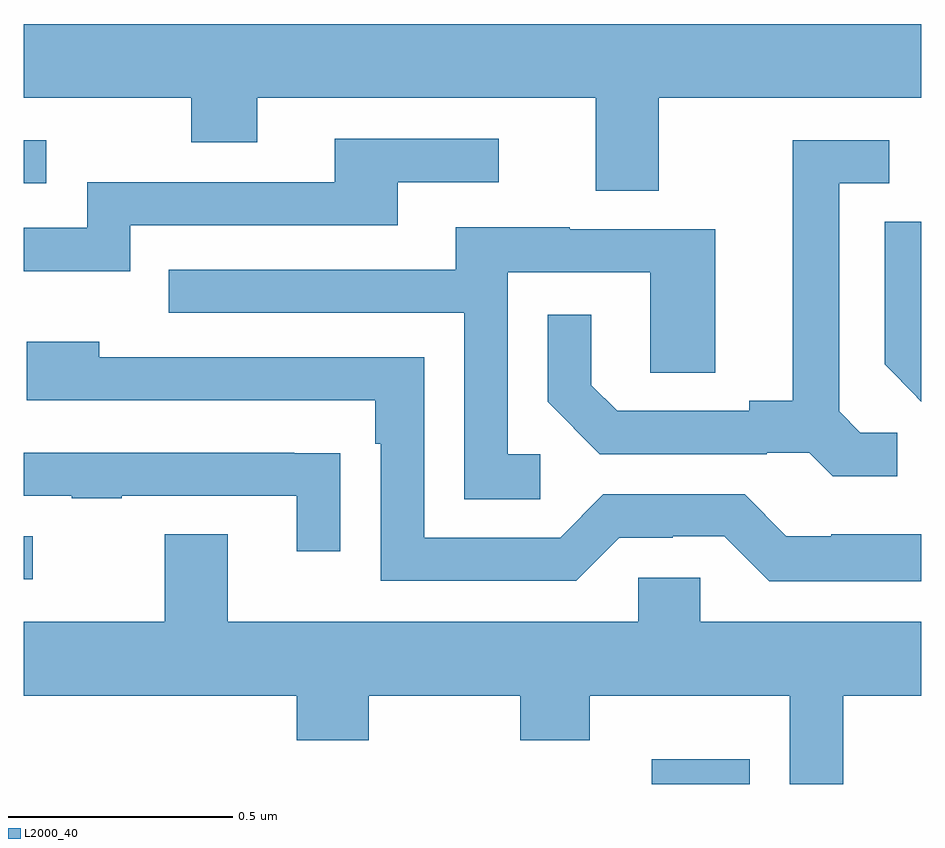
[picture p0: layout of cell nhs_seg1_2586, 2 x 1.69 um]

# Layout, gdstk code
import gdstk
lib = gdstk.Library(unit=1e-6, precision=1e-09)
def R(c, l, rs):  # rectangles x0, y0, x1, y1
    for r in rs: c.add(gdstk.rectangle(r[:2], r[2:], *l))
def P(c, l, *ps):  # polygons
    for p in ps: c.add(gdstk.Polygon(p, *l))
L2000_40 = (2000, 40)

nhs_seg1_2586 = lib.new_cell('nhs_seg1_2586')
R(nhs_seg1_2586, L2000_40, [(144.399,554.199,144.618,554.254), (143,554.655,143.02,554.751), (143,555.537,143.05,555.633)])
P(nhs_seg1_2586, L2000_40, [(144.415,555.728),(145,555.728),(145,555.892),(143,555.892),(143,555.728),(143.374,555.728),(143.374,555.629),(143.521,555.629),(143.521,555.728),(144.275,555.728),(144.275,555.52),(144.415,555.52)],
  [(143.238,555.444),(143.833,555.444),(143.833,555.54),(144.058,555.54),(144.058,555.636),(143.693,555.636),(143.693,555.54),(143.142,555.54),(143.142,555.438),(143,555.438),(143,555.341),(143.238,555.341)],
  [(144.946,554.982),(144.864,554.982),(144.817,555.029),(144.817,555.537),(144.928,555.537),(144.928,555.633),(144.713,555.633),(144.713,555.053),(144.617,555.053),(144.617,555.03),(144.322,555.03),(144.265,555.087),(144.265,555.244),(144.168,555.244),(144.168,555.05),(144.284,554.934),(144.656,554.934),(144.656,554.937),(144.75,554.937),(144.802,554.885),(144.946,554.885)],
  [(145,555.452),(144.918,555.452),(144.918,555.134),(144.991,555.061),(144.99,555.06),(145,555.05)],
  [(144.151,554.934),(144.078,554.934),(144.078,555.339),(144.396,555.339),(144.396,555.115),(144.541,555.115),(144.541,555.435),(144.217,555.435),(144.217,555.439),(143.963,555.439),(143.963,555.345),(143.323,555.345),(143.323,555.249),(143.982,555.249),(143.982,554.833),(144.151,554.833)],
  [(145,554.755),(144.799,554.755),(144.799,554.751),(144.699,554.751),(144.606,554.844),(144.291,554.844),(144.195,554.748),(143.892,554.748),(143.892,555.15),(143.168,555.15),(143.168,555.184),(143.007,555.184),(143.007,555.054),(143.783,555.054),(143.783,554.957),(143.796,554.957),(143.796,554.652),(144.231,554.652),(144.327,554.748),(144.446,554.748),(144.446,554.751),(144.561,554.751),(144.661,554.651),(145,554.651)],
  [(143.705,554.936),(143.603,554.936),(143.603,554.937),(143,554.937),(143,554.841),(143.107,554.841),(143.107,554.836),(143.219,554.836),(143.219,554.841),(143.609,554.841),(143.609,554.718),(143.705,554.718)],
  [(144.826,554.396),(145,554.396),(145,554.56),(144.507,554.56),(144.507,554.658),(144.369,554.658),(144.369,554.56),(143.455,554.56),(143.455,554.755),(143.315,554.755),(143.315,554.56),(143,554.56),(143,554.396),(143.609,554.396),(143.609,554.297),(143.769,554.297),(143.769,554.396),(144.106,554.396),(144.106,554.297),(144.261,554.297),(144.261,554.396),(144.707,554.396),(144.707,554.199),(144.826,554.199)])

lib.write_gds('nhs_seg1_2586.gds')
